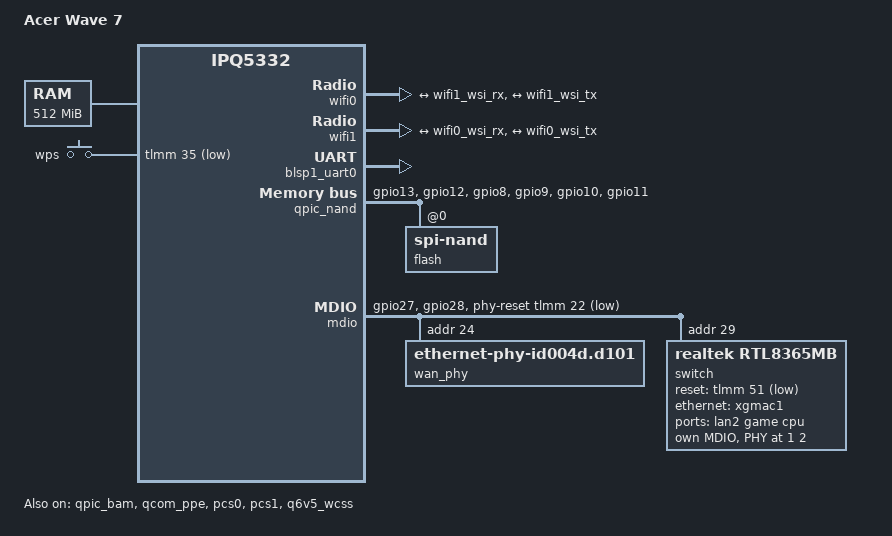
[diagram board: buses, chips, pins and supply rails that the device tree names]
// SPDX-License-Identifier: (GPL-2.0+ OR BSD-3-Clause)

/dts-v1/;

#include <arm64/qcom/ipq5332.dtsi>
#include <dt-bindings/gpio/gpio.h>
#include <dt-bindings/input/input.h>
#include <dt-bindings/clock/qcom,ipq5332-nsscc.h>
#include <dt-bindings/clock/qcom,ipq5332-gcc.h>
#include <dt-bindings/net/qcom,ipq9574-pcs.h>

/ {
	model = "Acer Wave 7";
	compatible = "acer,wave7", "qcom,ipq5332";

	aliases {
		serial0 = &blsp1_uart0;
		ethernet0 = &xgmac2;
		ethernet1 = &xgmac1;
	};

	chosen {
		stdout-path = "serial0:115200n8";
		bootargs-append = " root=/dev/ram0 rdinit=/init panic=10 reboot=panic_w wave7.defer_wifi=1 wave7.autoprobe=1 clk_ignore_unused";
	};

	memory@40000000 {
		device_type = "memory";
		reg = <0x0 0x40000000 0x0 0x20000000>;
	};

	reserved-memory {

		q6_region: wcss@4a900000 {
			reg = <0x0 0x4a900000 0x0 0x2100000>;
			no-map;
		};

		m3_dump: wifi-m3-dump@4ca00000 {
			reg = <0x0 0x4ca00000 0x0 0x100000>;
			no-map;
		};

		wcss_spare0: wifi-reserved@4cb00000 {
			reg = <0x0 0x4cb00000 0x0 0x300000>;
			no-map;
		};

		q6_caldb: qcn6432_data: wifi-data@4ce00000 {
			reg = <0x0 0x4ce00000 0x0 0xe00000>;
			no-map;
		};

		qcn6432_m3_dump: wifi-m3-dump@4dc00000 {
			reg = <0x0 0x4dc00000 0x0 0x100000>;
			no-map;
		};

		wcss_spare1: wifi-reserved@4dd00000 {
			reg = <0x0 0x4dd00000 0x0 0x300000>;
			no-map;
		};

		mlo_mem: wifi-mlo@4e000000 {
			reg = <0x0 0x4e000000 0x0 0x900000>;
			no-map;
		};

		wcss_crash: wifi-crash@4e900000 {
			reg = <0x0 0x4e900000 0x0 0x100000>;
			no-map;
		};

		ramoops@4ea00000 {
			compatible = "ramoops";
			reg = <0x0 0x4ea00000 0x0 0x100000>;
			record-size = <0x20000>;
			console-size = <0x20000>;
			ftrace-size = <0x20000>;
		};
	};

	wcss_smp2p: smp2p-wcss {
		compatible = "qcom,smp2p";
		qcom,smem = <435>, <428>;
		interrupts = <GIC_SPI 418 IRQ_TYPE_EDGE_RISING>;
		mboxes = <&apcs_glb 9>;
		qcom,local-pid = <0>;
		qcom,remote-pid = <1>;

		wcss_smp2p_out: master-kernel {
			qcom,entry-name = "master-kernel";
			qcom,smp2p-feature-ssr-ack;
			#qcom,smem-state-cells = <1>;
		};

		wcss_smp2p_in: slave-kernel {
			qcom,entry-name = "slave-kernel";
			interrupt-controller;
			#interrupt-cells = <2>;
		};
	};

	gpio-keys {
		compatible = "gpio-keys";
		pinctrl-0 = <&wave7_button_pins>;
		pinctrl-names = "default";

		wps {
			label = "wps";
			linux,code = <KEY_WPS_BUTTON>;
			gpios = <&tlmm 35 GPIO_ACTIVE_LOW>;
		};

	};
};


&{/soc@0} {
	q6v5_wcss: remoteproc@d100000 {
		compatible = "qcom,ipq5332-q6-mpd";
		reg = <0x0d100000 0x4040>;
		firmware-name = "ath12k/IPQ5332/hw1.0/q6_fw0.mdt",
				"ath12k/IPQ5332/hw1.0/iu_fw.mdt",
				"ath12k/QCN6432/hw1.0/iu_fw.mdt";
		interrupts-extended = <&intc GIC_SPI 421 IRQ_TYPE_EDGE_RISING>,
				      <&wcss_smp2p_in 0 IRQ_TYPE_NONE>,
				      <&wcss_smp2p_in 1 IRQ_TYPE_NONE>,
				      <&wcss_smp2p_in 2 IRQ_TYPE_NONE>,
				      <&wcss_smp2p_in 3 IRQ_TYPE_NONE>;
		interrupt-names = "wdog", "fatal", "ready", "handover", "stop-ack";
		qcom,smem-states = <&wcss_smp2p_out 0>,
				   <&wcss_smp2p_out 1>;
		qcom,smem-state-names = "shutdown", "stop";
		memory-region = <&q6_region>;
		/*
		 * Actual Acer firmware 067 (live 2026-11-06): PCIe1, GPIO47.
		 * QCN6432 UserPD2 is physically on the 2-lane controller at
		 * 0x18000000. Slot 0/GPIO38 is the wrong board variant.
		 */
		boot-args = <0x01 0x04 0x03 0x01 0x2f 0x02>;
		qcom,heartbeat_smem = <508>;
		status = "okay";

		wcss_pd1: remoteproc-pd1 {
			compatible = "qcom,ipq5332-wcss-ahb-mpd";
			firmware-name = "ath12k/IPQ5332/hw1.0/q6_fw1.mdt";
			interrupts-extended = <&wcss_smp2p_in 8 IRQ_TYPE_NONE>,
					      <&wcss_smp2p_in 9 IRQ_TYPE_NONE>,
					      <&wcss_smp2p_in 12 IRQ_TYPE_NONE>,
					      <&wcss_smp2p_in 11 IRQ_TYPE_NONE>;
			interrupt-names = "fatal", "ready", "spawn-ack", "stop-ack";
			qcom,smem-states = <&wcss_smp2p_out 8>,
					   <&wcss_smp2p_out 9>,
					   <&wcss_smp2p_out 10>;
			qcom,smem-state-names = "shutdown", "stop", "spawn";
		};

		wcss_pd2: remoteproc-pd2 {
			compatible = "qcom,ipq5332-wcss-pcie-mpd";
			firmware-name = "ath12k/IPQ5332/hw1.0/q6_fw2.mdt";
			interrupts-extended = <&wcss_smp2p_in 16 IRQ_TYPE_NONE>,
					      <&wcss_smp2p_in 17 IRQ_TYPE_NONE>,
					      <&wcss_smp2p_in 20 IRQ_TYPE_NONE>,
					      <&wcss_smp2p_in 19 IRQ_TYPE_NONE>;
			interrupt-names = "fatal", "ready", "spawn-ack", "stop-ack";
			qcom,smem-states = <&wcss_smp2p_out 16>,
					   <&wcss_smp2p_out 17>,
					   <&wcss_smp2p_out 18>;
			qcom,smem-state-names = "shutdown", "stop", "spawn";
		};

		glink-edge {
			interrupts = <GIC_SPI 417 IRQ_TYPE_EDGE_RISING>;
			label = "rtr";
			qcom,remote-pid = <1>;
			mboxes = <&apcs_glb 8>;
		};
	};

	wifi0: wifi@c000000 {
		compatible = "qcom,ipq5332-wifi";
		reg = <0x0c000000 0x1000000>;
		clocks = <&gcc GCC_XO_CLK>;
		clock-names = "xo";
		interrupts-extended = <&intc GIC_SPI 559 IRQ_TYPE_EDGE_RISING>,
		                      <&intc GIC_SPI 560 IRQ_TYPE_EDGE_RISING>,
		                      <&intc GIC_SPI 561 IRQ_TYPE_EDGE_RISING>,
		                      <&intc GIC_SPI 422 IRQ_TYPE_EDGE_RISING>,
		                      <&intc GIC_SPI 423 IRQ_TYPE_EDGE_RISING>,
		                      <&intc GIC_SPI 424 IRQ_TYPE_EDGE_RISING>,
		                      <&intc GIC_SPI 425 IRQ_TYPE_EDGE_RISING>,
		                      <&intc GIC_SPI 426 IRQ_TYPE_EDGE_RISING>,
		                      <&intc GIC_SPI 427 IRQ_TYPE_EDGE_RISING>,
		                      <&intc GIC_SPI 428 IRQ_TYPE_EDGE_RISING>,
		                      <&intc GIC_SPI 429 IRQ_TYPE_EDGE_RISING>,
		                      <&intc GIC_SPI 430 IRQ_TYPE_EDGE_RISING>,
		                      <&intc GIC_SPI 431 IRQ_TYPE_EDGE_RISING>,
		                      <&intc GIC_SPI 432 IRQ_TYPE_EDGE_RISING>,
		                      <&intc GIC_SPI 433 IRQ_TYPE_EDGE_RISING>,
		                      <&intc GIC_SPI 491 IRQ_TYPE_EDGE_RISING>,
		                      <&intc GIC_SPI 495 IRQ_TYPE_EDGE_RISING>,
		                      <&intc GIC_SPI 493 IRQ_TYPE_EDGE_RISING>,
		                      <&intc GIC_SPI 544 IRQ_TYPE_EDGE_RISING>,
		                      <&intc GIC_SPI 457 IRQ_TYPE_EDGE_RISING>,
		                      <&intc GIC_SPI 466 IRQ_TYPE_EDGE_RISING>,
		                      <&intc GIC_SPI 497 IRQ_TYPE_EDGE_RISING>,
		                      <&intc GIC_SPI 454 IRQ_TYPE_EDGE_RISING>,
		                      <&intc GIC_SPI 453 IRQ_TYPE_EDGE_RISING>,
		                      <&intc GIC_SPI 452 IRQ_TYPE_EDGE_RISING>,
		                      <&intc GIC_SPI 451 IRQ_TYPE_EDGE_RISING>,
		                      <&intc GIC_SPI 488 IRQ_TYPE_EDGE_RISING>,
		                      <&intc GIC_SPI 488 IRQ_TYPE_EDGE_RISING>,
		                      <&intc GIC_SPI 484 IRQ_TYPE_EDGE_RISING>,
		                      <&intc GIC_SPI 554 IRQ_TYPE_EDGE_RISING>,
		                      <&intc GIC_SPI 554 IRQ_TYPE_EDGE_RISING>,
		                      <&intc GIC_SPI 549 IRQ_TYPE_EDGE_RISING>,
		                      <&intc GIC_SPI 507 IRQ_TYPE_EDGE_RISING>,
		                      <&intc GIC_SPI 500 IRQ_TYPE_EDGE_RISING>,
		                      <&intc GIC_SPI 499 IRQ_TYPE_EDGE_RISING>,
		                      <&intc GIC_SPI 498 IRQ_TYPE_EDGE_RISING>,
		                      <&intc GIC_SPI 450 IRQ_TYPE_EDGE_RISING>,
		                      <&intc GIC_SPI 449 IRQ_TYPE_EDGE_RISING>,
		                      <&intc GIC_SPI 448 IRQ_TYPE_EDGE_RISING>,
		                      <&intc GIC_SPI 447 IRQ_TYPE_EDGE_RISING>,
		                      <&intc GIC_SPI 543 IRQ_TYPE_EDGE_RISING>,
		                      <&intc GIC_SPI 486 IRQ_TYPE_EDGE_RISING>,
		                      <&intc GIC_SPI 486 IRQ_TYPE_EDGE_RISING>,
		                      <&intc GIC_SPI 482 IRQ_TYPE_EDGE_RISING>,
		                      <&intc GIC_SPI 419 IRQ_TYPE_EDGE_RISING>;
		interrupt-names = "misc-pulse1",
		                  "misc-latch",
		                  "sw-exception",
		                  "ce0",
		                  "ce1",
		                  "ce2",
		                  "ce3",
		                  "ce4",
		                  "ce5",
		                  "ce6",
		                  "ce7",
		                  "ce8",
		                  "ce9",
		                  "ce10",
		                  "ce11",
		                  "host2wbm-desc-feed",
		                  "host2reo-re-injection",
		                  "host2reo-command",
		                  "host2rxdma-monitor-ring1",
		                  "reo2ost-exception",
		                  "wbm2host-rx-release",
		                  "reo2host-status",
		                  "reo2host-destination-ring4",
		                  "reo2host-destination-ring3",
		                  "reo2host-destination-ring2",
		                  "reo2host-destination-ring1",
		                  "rxdma2host-monitor-destination-mac3",
		                  "rxdma2host-monitor-destination-mac2",
		                  "rxdma2host-monitor-destination-mac1",
		                  "host2rxdma-host-buf-ring-mac3",
		                  "host2rxdma-host-buf-ring-mac2",
		                  "host2rxdma-host-buf-ring-mac1",
		                  "host2tcl-input-ring4",
		                  "host2tcl-input-ring3",
		                  "host2tcl-input-ring2",
		                  "host2tcl-input-ring1",
		                  "wbm2host-tx-completions-ring4",
		                  "wbm2host-tx-completions-ring3",
		                  "wbm2host-tx-completions-ring2",
		                  "wbm2host-tx-completions-ring1",
		                  "host2tx-monitor-ring1",
		                  "txmon2host-monitor-destination-mac3",
		                  "txmon2host-monitor-destination-mac2",
		                  "txmon2host-monitor-destination-mac1",
		                  "umac-reset";

		memory-region = <&q6_region>, <&q6_region>, <&m3_dump>, <&q6_caldb>, <&mlo_mem>;
		memory-region-names = "host-ddr-mem", "q6-region", "m3-dump",
				      "q6-caldb", "mlo-global-mem";
		/* Exact IPQ5332 settings from the running stock 067 device tree.
		 * The generic ath12k BDF fallback points to 0x4c300000 instead.
		 */
		qcom,tgt-mem-mode = <2>;
		qcom,bdf-addr = <0x4bd00000 0x4bd00000 0x4bd00000 0 0 0>;
		qcom,rproc = <&wcss_pd1>;
		qcom,wsi-controller;

		/* Two-chip MLO group: IPQ5332 -> QCN6432 -> IPQ5332.
		 * These are logical WSI graph links, not GPIO/PCIe connections.
		 */
		status = "okay";

		ports {
			#address-cells = <1>;
			#size-cells = <0>;

			port@0 {
				reg = <0>;

				wifi0_wsi_tx: endpoint {
					remote-endpoint = <&wifi1_wsi_rx>;
				};
			};

			port@1 {
				reg = <1>;

				wifi0_wsi_rx: endpoint {
					remote-endpoint = <&wifi1_wsi_tx>;
				};
			};
		};

	};

	wifi1: wifi {
		compatible = "qcom,qcn6432-wifi";
		msi-parent = <&v2m0>;


		memory-region = <&qcn6432_data>, <&q6_region>,
				<&qcn6432_m3_dump>, <&mlo_mem>;
		memory-region-names = "host-ddr-mem", "q6-region", "m3-dump",
				      "mlo-global-mem";
		qcom,bdf-addr = <0x4ce00000 0x4ce00000 0x4ce00000 0 0 0>;
		qcom,tgt-mem-mode = <2>;
		/* Captured from the running stock 067 device tree, not board-default.dts. */
		qcom,board_id = <0x53>;
		qcom,pci_slot_id = <1>;

		qcom,rproc = <&wcss_pd2>;
		qcom,userpd-subsys-name = "q6v5_wcss_userpd2";

		status = "okay";

		ports {
			#address-cells = <1>;
			#size-cells = <0>;

			port@0 {
				reg = <0>;

				wifi1_wsi_tx: endpoint {
					remote-endpoint = <&wifi0_wsi_rx>;
				};
			};

			port@1 {
				reg = <1>;

				wifi1_wsi_rx: endpoint {
					remote-endpoint = <&wifi0_wsi_tx>;
				};
			};
		};

	};
};

&blsp1_uart0 {
	pinctrl-0 = <&serial_0_pins>;
	pinctrl-names = "default";
	status = "okay";
};

&ref_48mhz_clk {
	clock-div = <1>;
	clock-mult = <1>;
};

&sleep_clk {
	clock-frequency = <32000>;
};

/*
 * Acer stock firmware uses QPIC/BAM at 0x079b0000/0x07984000 with
 * GPIO8-13. Expose the chip but do not describe arbitrary partition
 * offsets: the vendor partition table must be recovered separately.
 */
&qpic_bam {
	status = "okay";
};

&qpic_nand {
	pinctrl-0 = <&wave7_qpic_pins>;
	pinctrl-names = "default";
	status = "okay";

	flash@0 {
		compatible = "spi-nand";
		reg = <0>;
		nand-ecc-engine = <&qpic_nand>;
		nand-ecc-strength = <4>;
		nand-ecc-step-size = <512>;
	};
};

&xo_board {
	clock-frequency = <24000000>;
};

&xo_clk {
	clock-frequency = <48000000>;
};

&tlmm {
	wave7_button_pins: wave7-button-state {
		pins = "gpio35";
		function = "gpio";
		drive-strength = <8>;
		bias-pull-up;
	};

	wave7_qpic_pins: wave7-qpic-state {
		clock-pins {
			pins = "gpio13";
			function = "qspi_clk";
			drive-strength = <8>;
			bias-pull-down;
		};

		cs-pins {
			pins = "gpio12";
			function = "qspi_cs";
			drive-strength = <8>;
			bias-pull-up;
		};

		data-pins {
			pins = "gpio8", "gpio9", "gpio10", "gpio11";
			function = "qspi_data";
			drive-strength = <8>;
			bias-pull-down;
		};
	};

	wave7_mdio_pins: wave7-mdio-state {
		mdc-pins {
			pins = "gpio27";
			function = "mdc1";
			drive-strength = <2>;
			bias-pull-up;
		};

		mdio-pins {
			pins = "gpio28";
			function = "mdio1";
			drive-strength = <2>;
			bias-pull-up;
		};
	};
};

&mdio {
	compatible = "qcom,ipq5332-mdio", "qcom,ipq4019-mdio";
	/*
	 * CMN PLL now owns 0x9b000..0x9b7ff. Keep only the UNIPHY clocks and
	 * QCA8081 reset sequencing in MDIO; the CMN owner performs the
	 * ethernet-LDO-ready handshake before resetting the PLL.
	 */
	reg = <0x90000 0x64>;
	clocks = <&gcc GCC_MDIO_AHB_CLK>,
		 <&gcc GCC_UNIPHY0_AHB_CLK>,
		 <&gcc GCC_UNIPHY0_SYS_CLK>,
		 <&gcc GCC_UNIPHY1_AHB_CLK>,
		 <&gcc GCC_UNIPHY1_SYS_CLK>,
		 <&pcs0 PCS_PHY_REF_CLK>,
		 <&pcs1 PCS_PHY_REF_CLK>;
	clock-names = "gcc_mdio_ahb_clk",
		      "gcc_uniphy0_ahb_clk",
		      "gcc_uniphy0_sys_clk",
		      "gcc_uniphy1_ahb_clk",
		      "gcc_uniphy1_sys_clk",
		      "uniphy0_phy_ref_clk",
		      "uniphy1_phy_ref_clk";
	clock-frequency = <6250000>;
	phy-reset-gpios = <&tlmm 22 GPIO_ACTIVE_LOW>;
	pinctrl-0 = <&wave7_mdio_pins>;
	pinctrl-names = "default";
	status = "okay";

	wan_phy: ethernet-phy@18 {
		compatible = "ethernet-phy-id004d.d101";
		reg = <0x18>;
	};

	switch: ethernet-switch@1d {
		compatible = "realtek,rtl8365mb";
		reg = <0x1d>;
		reset-gpios = <&tlmm 51 GPIO_ACTIVE_LOW>;

		mdio {
			compatible = "realtek,smi-mdio";
			#address-cells = <1>;
			#size-cells = <0>;

			switchphy1: ethernet-phy@1 {
				reg = <1>;
			};

			switchphy2: ethernet-phy@2 {
				reg = <2>;
			};
		};

		ports {
			#address-cells = <1>;
			#size-cells = <0>;

			port@1 {
				reg = <1>;
				label = "lan2";
				phy-handle = <&switchphy1>;
			};

			port@2 {
				reg = <2>;
				label = "game";
				phy-handle = <&switchphy2>;
			};

			port@6 {
				reg = <6>;
				label = "cpu";
				ethernet = <&xgmac1>;
				phy-mode = "2500base-x";

				fixed-link {
					speed = <2500>;
					full-duplex;
					pause;
				};
			};
		};
	};
};

&qcom_ppe {
	status = "okay";

	ethernet-ports {
		#address-cells = <1>;
		#size-cells = <0>;

		xgmac1: port@1 {
			reg = <1>;
			phy-mode = "2500base-x";
			label = "switch";
			pcs-handle = <&pcs0_ch0>;
			clocks = <&nsscc NSS_CC_PORT1_MAC_CLK>,
				 <&nsscc NSS_CC_PORT1_RX_CLK>,
				 <&nsscc NSS_CC_PORT1_TX_CLK>;
			clock-names = "mac", "rx", "tx";
			resets = <&nsscc NSS_CC_PORT1_MAC_CLK_ARES>,
				 <&nsscc NSS_CC_PORT1_RX_CLK_ARES>,
				 <&nsscc NSS_CC_PORT1_TX_CLK_ARES>;
			reset-names = "mac", "rx", "tx";

			fixed-link {
				speed = <2500>;
				full-duplex;
				pause;
			};
		};

		xgmac2: port@2 {
			reg = <2>;
			phy-mode = "sgmii";
			label = "lan";
			pcs-handle = <&pcs1_ch0>;
			phy-handle = <&wan_phy>;
			clocks = <&nsscc NSS_CC_PORT2_MAC_CLK>,
				 <&nsscc NSS_CC_PORT2_RX_CLK>,
				 <&nsscc NSS_CC_PORT2_TX_CLK>;
			clock-names = "mac", "rx", "tx";
			resets = <&nsscc NSS_CC_PORT2_MAC_CLK_ARES>,
				 <&nsscc NSS_CC_PORT2_RX_CLK_ARES>,
				 <&nsscc NSS_CC_PORT2_TX_CLK_ARES>;
			reset-names = "mac", "rx", "tx";
		};
	};
};

&pcs0 {
	status = "okay";
};

&pcs1 {
	status = "okay";
};
